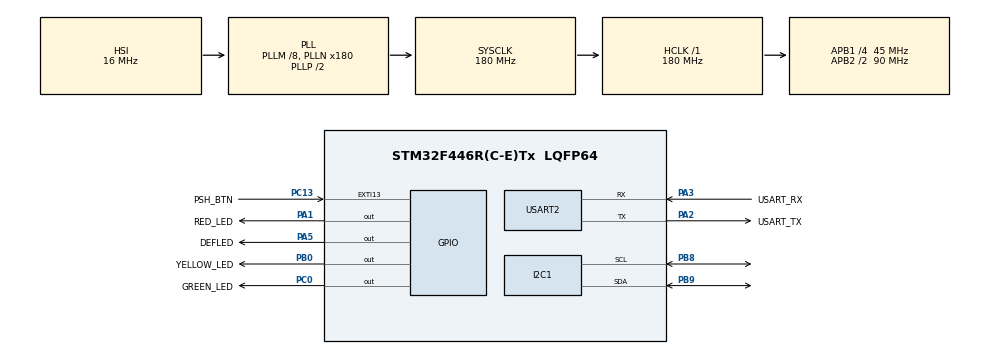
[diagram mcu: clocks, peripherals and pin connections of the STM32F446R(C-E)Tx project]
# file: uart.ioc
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FREERTOS.Queues01=myQueue,1,uint8_t,0,Dynamic,NULL,NULL
FREERTOS.Tasks01=UARTTask,24,128,StartUARTtask,Default,NULL,Dynamic,NULL,NULL;RedLEDTask,24,128,StartRedLEDTask,Default,NULL,Dynamic,NULL,NULL;YellowLEDTask,24,128,StartYellowLEDTask,Default,NULL,Dynamic,NULL,NULL;GreenLEDTask,24,128,StartGreenLEDTask,Default,NULL,Dynamic,NULL,NULL;BlinkRedLEDTask,24,128,StartBlinkRedLEDTask,Default,NULL,Dynamic,NULL,NULL;LCDNotification,24,128,StartLCDNotificationTask,Default,NULL,Dynamic,NULL,NULL
FREERTOS.configUSE_NEWLIB_REENTRANT=1
Mcu.Family=STM32F4
Mcu.Name=STM32F446R(C-E)Tx
Mcu.Package=LQFP64
NVIC.PriorityGroup=NVIC_PRIORITYGROUP_4
NVIC.TIM6_DAC_IRQn=true\:15\:0\:false\:false\:true\:false\:false\:true\:true
NVIC.TimeBase=TIM6_DAC_IRQn
NVIC.TimeBaseIP=TIM6
PA1.GPIO_Label=RED_LED
PA1.Signal=GPIO_Output
PA13.GPIO_Label=TMS
PA13.Mode=Serial_Wire
PA13.Signal=SYS_JTMS-SWDIO
PA14.GPIO_Label=TCK
PA14.Mode=Serial_Wire
PA14.Signal=SYS_JTCK-SWCLK
PA2.GPIO_Label=USART_TX
PA2.Mode=Asynchronous
PA2.Signal=USART2_TX
PA3.GPIO_Label=USART_RX
PA3.Mode=Asynchronous
PA3.Signal=USART2_RX
PA5.GPIO_Label=DEFLED
PA5.Signal=GPIO_Output
PB0.GPIO_Label=YELLOW_LED
PB0.Signal=GPIO_Output
PB3.GPIO_Label=SWO
PB3.Signal=SYS_JTDO-SWO
PB8.Mode=I2C
PB8.Signal=I2C1_SCL
PB9.Mode=I2C
PB9.Signal=I2C1_SDA
PC0.GPIO_Label=GREEN_LED
PC0.Signal=GPIO_Output
PC13.GPIO_Label=PSH_BTN
PC13.GPIO_ModeDefaultEXTI=GPIO_MODE_IT_FALLING
PC13.Signal=GPXTI13
PC14-OSC32_IN.Mode=LSE-External-Oscillator
PC14-OSC32_IN.Signal=RCC_OSC32_IN
PC15-OSC32_OUT.Mode=LSE-External-Oscillator
PC15-OSC32_OUT.Signal=RCC_OSC32_OUT
PH0-OSC_IN.Mode=HSE-External-Oscillator
PH0-OSC_IN.Signal=RCC_OSC_IN
PH1-OSC_OUT.Mode=HSE-External-Oscillator
PH1-OSC_OUT.Signal=RCC_OSC_OUT
ProjectManager.HeapSize=0x200
ProjectManager.StackSize=0x400
ProjectManager.TargetToolchain=STM32CubeIDE
RCC.48MHZClocksFreq_Value=84000000
RCC.AHBFreq_Value=180000000
RCC.APB1CLKDivider=RCC_HCLK_DIV4
RCC.APB1Freq_Value=45000000
RCC.APB1TimFreq_Value=90000000
RCC.APB2CLKDivider=RCC_HCLK_DIV2
RCC.APB2Freq_Value=90000000
RCC.APB2TimFreq_Value=180000000
RCC.CortexFreq_Value=180000000
RCC.FLatency-AdvancedSettings=FLASH_LATENCY_5
RCC.HCLKFreq_Value=180000000
RCC.HSE_VALUE=8000000
RCC.HSI_VALUE=16000000
RCC.PLLM=8
RCC.PLLN=180
RCC.SYSCLKFreq_VALUE=180000000
RCC.SYSCLKSource=RCC_SYSCLKSOURCE_PLLCLK
RCC.USBFreq_Value=180000000
RCC.VCOOutputFreq_Value=360000000
USART2.VirtualMode=VM_ASYNC
VP_FREERTOS_VS_CMSIS_V2.Mode=CMSIS_V2
VP_SYS_VS_tim6.Mode=TIM6
board=NUCLEO-F446RE

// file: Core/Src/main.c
/* USER CODE BEGIN Header */
/**
  ******************************************************************************
  * @file           : main.c
  * @brief          : Main program body
  ******************************************************************************
  * @attention
  *
  * Copyright (c) 2025 STMicroelectronics.
  * All rights reserved.
  *
  * This software is licensed under terms that can be found in the LICENSE file
  * in the root directory of this software component.
  * If no LICENSE file comes with this software, it is provided AS-IS.
  *
  ******************************************************************************
  */
/* USER CODE END Header */
#include "main.h"
#include "cmsis_os.h"
#include <stdint.h>
/* USER CODE BEGIN Includes */
#include "stm32f4xx_hal.h"
/* USER CODE END Includes */

I2C_HandleTypeDef hi2c1;

UART_HandleTypeDef huart2;

/* Definitions for UARTTask */
osThreadId_t UARTTaskHandle;
const osThreadAttr_t UARTTask_attributes = {
  .name = "UARTTask",
  .stack_size = 128 * 4,
  .priority = (osPriority_t) osPriorityNormal,
};
/* Definitions for RedLEDTask */
osThreadId_t RedLEDTaskHandle;
const osThreadAttr_t RedLEDTask_attributes = {
  .name = "RedLEDTask",
  .stack_size = 128 * 4,
  .priority = (osPriority_t) osPriorityNormal,
};
/* Definitions for YellowLEDTask */
osThreadId_t YellowLEDTaskHandle;
const osThreadAttr_t YellowLEDTask_attributes = {
  .name = "YellowLEDTask",
  .stack_size = 128 * 4,
  .priority = (osPriority_t) osPriorityNormal,
};
/* Definitions for GreenLEDTask */
osThreadId_t GreenLEDTaskHandle;
const osThreadAttr_t GreenLEDTask_attributes = {
  .name = "GreenLEDTask",
  .stack_size = 128 * 4,
  .priority = (osPriority_t) osPriorityNormal,
};
/* Definitions for BlinkRedLEDTask */
osThreadId_t BlinkRedLEDTaskHandle;
const osThreadAttr_t BlinkRedLEDTask_attributes = {
  .name = "BlinkRedLEDTask",
  .stack_size = 128 * 4,
  .priority = (osPriority_t) osPriorityNormal,
};
/* Definitions for LCDNotification */
osThreadId_t LCDNotificationHandle;
const osThreadAttr_t LCDNotification_attributes = {
  .name = "LCDNotification",
  .stack_size = 128 * 4,
  .priority = (osPriority_t) osPriorityNormal,
};
/* Definitions for myQueue */
osMessageQueueId_t myQueueHandle;
const osMessageQueueAttr_t myQueue_attributes = {
  .name = "myQueue"
};
/* USER CODE BEGIN PV */
uint8_t tx_data[]="Hello, are you ready to start the capture? (y/n) \r\n";
uint8_t rx_data[1];
/* USER CODE END PV */

void SystemClock_Config(void);
static void MX_GPIO_Init(void);
static void MX_USART2_UART_Init(void);
static void MX_I2C1_Init(void);
void StartUARTtask(void *argument);
void StartRedLEDTask(void *argument);
void StartYellowLEDTask(void *argument);
void StartGreenLEDTask(void *argument);
void StartBlinkRedLEDTask(void *argument);
void StartLCDNotificationTask(void *argument);

/* USER CODE BEGIN 0 */

typedef struct{
	uint8_t id;
}QUEUE_t;

typedef enum{
	RED_ON,
	RED_BLINK_ON,
	YELLOW_ON,
	GREEN_ON
}led_state;
/* USER CODE END 0 */

int main(void)
{

  /* MCU Configuration--------------------------------------------------------*/

  /* Reset of all peripherals, Initializes the Flash interface and the Systick. */
  HAL_Init();

  /* Configure the system clock */
  SystemClock_Config();

  /* Initialize all configured peripherals */
  MX_GPIO_Init();
  MX_USART2_UART_Init();
  MX_I2C1_Init();

  /* Init scheduler */
  osKernelInitialize();

  /* Create the queue(s) */
  /* creation of myQueue */
  myQueueHandle = osMessageQueueNew (1, sizeof(uint8_t), &myQueue_attributes);

  /* Create the thread(s) */
  /* creation of UARTTask */
  UARTTaskHandle = osThreadNew(StartUARTtask, NULL, &UARTTask_attributes);

  /* creation of RedLEDTask */
  RedLEDTaskHandle = osThreadNew(StartRedLEDTask, NULL, &RedLEDTask_attributes);

  /* creation of YellowLEDTask */
  YellowLEDTaskHandle = osThreadNew(StartYellowLEDTask, NULL, &YellowLEDTask_attributes);

  /* creation of GreenLEDTask */
  GreenLEDTaskHandle = osThreadNew(StartGreenLEDTask, NULL, &GreenLEDTask_attributes);

  /* creation of BlinkRedLEDTask */
  BlinkRedLEDTaskHandle = osThreadNew(StartBlinkRedLEDTask, NULL, &BlinkRedLEDTask_attributes);

  /* creation of LCDNotification */
  LCDNotificationHandle = osThreadNew(StartLCDNotificationTask, NULL, &LCDNotification_attributes);

  /* Start scheduler */
  osKernelStart();

  /* We should never get here as control is now taken by the scheduler */

  /* Infinite loop */
  while (1)
  {

    /* USER CODE BEGIN 3 */

//	  HAL_Delay(400);
  }
  /* USER CODE END 3 */
}

void SystemClock_Config(void)
{
  RCC_OscInitTypeDef RCC_OscInitStruct = {0};
  RCC_ClkInitTypeDef RCC_ClkInitStruct = {0};

  /** Configure the main internal regulator output voltage
  */
  __HAL_RCC_PWR_CLK_ENABLE();
  __HAL_PWR_VOLTAGESCALING_CONFIG(PWR_REGULATOR_VOLTAGE_SCALE1);

  /** Initializes the RCC Oscillators according to the specified parameters
  * in the RCC_OscInitTypeDef structure.
  */
  RCC_OscInitStruct.OscillatorType = RCC_OSCILLATORTYPE_HSI;
  RCC_OscInitStruct.HSIState = RCC_HSI_ON;
  RCC_OscInitStruct.HSICalibrationValue = RCC_HSICALIBRATION_DEFAULT;
  RCC_OscInitStruct.PLL.PLLState = RCC_PLL_ON;
  RCC_OscInitStruct.PLL.PLLSource = RCC_PLLSOURCE_HSI;
  RCC_OscInitStruct.PLL.PLLM = 8;
  RCC_OscInitStruct.PLL.PLLN = 180;
  RCC_OscInitStruct.PLL.PLLP = RCC_PLLP_DIV2;
  RCC_OscInitStruct.PLL.PLLQ = 2;
  RCC_OscInitStruct.PLL.PLLR = 2;
  if (HAL_RCC_OscConfig(&RCC_OscInitStruct) != HAL_OK)
  {
    Error_Handler();
  }

  /** Activate the Over-Drive mode
  */
  if (HAL_PWREx_EnableOverDrive() != HAL_OK)
  {
    Error_Handler();
  }

  /** Initializes the CPU, AHB and APB buses clocks
  */
  RCC_ClkInitStruct.ClockType = RCC_CLOCKTYPE_HCLK|RCC_CLOCKTYPE_SYSCLK
                              |RCC_CLOCKTYPE_PCLK1|RCC_CLOCKTYPE_PCLK2;
  RCC_ClkInitStruct.SYSCLKSource = RCC_SYSCLKSOURCE_PLLCLK;
  RCC_ClkInitStruct.AHBCLKDivider = RCC_SYSCLK_DIV1;
  RCC_ClkInitStruct.APB1CLKDivider = RCC_HCLK_DIV4;
  RCC_ClkInitStruct.APB2CLKDivider = RCC_HCLK_DIV2;

  if (HAL_RCC_ClockConfig(&RCC_ClkInitStruct, FLASH_LATENCY_5) != HAL_OK)
  {
    Error_Handler();
  }
}

static void MX_I2C1_Init(void)
{

  hi2c1.Instance = I2C1;
  hi2c1.Init.ClockSpeed = 100000;
  hi2c1.Init.DutyCycle = I2C_DUTYCYCLE_2;
  hi2c1.Init.OwnAddress1 = 0;
  hi2c1.Init.AddressingMode = I2C_ADDRESSINGMODE_7BIT;
  hi2c1.Init.DualAddressMode = I2C_DUALADDRESS_DISABLE;
  hi2c1.Init.OwnAddress2 = 0;
  hi2c1.Init.GeneralCallMode = I2C_GENERALCALL_DISABLE;
  hi2c1.Init.NoStretchMode = I2C_NOSTRETCH_DISABLE;
  if (HAL_I2C_Init(&hi2c1) != HAL_OK)
  {
    Error_Handler();
  }

}

static void MX_USART2_UART_Init(void)
{

  huart2.Instance = USART2;
  huart2.Init.BaudRate = 115200;
  huart2.Init.WordLength = UART_WORDLENGTH_8B;
  huart2.Init.StopBits = UART_STOPBITS_1;
  huart2.Init.Parity = UART_PARITY_NONE;
  huart2.Init.Mode = UART_MODE_TX_RX;
  huart2.Init.HwFlowCtl = UART_HWCONTROL_NONE;
  huart2.Init.OverSampling = UART_OVERSAMPLING_16;
  if (HAL_UART_Init(&huart2) != HAL_OK)
  {
    Error_Handler();
  }

}

static void MX_GPIO_Init(void)
{
  GPIO_InitTypeDef GPIO_InitStruct = {0};

  /* GPIO Ports Clock Enable */
  __HAL_RCC_GPIOC_CLK_ENABLE();
  __HAL_RCC_GPIOH_CLK_ENABLE();
  __HAL_RCC_GPIOA_CLK_ENABLE();
  __HAL_RCC_GPIOB_CLK_ENABLE();

  /*Configure GPIO pin Output Level */
  HAL_GPIO_WritePin(GREEN_LED_GPIO_Port, GREEN_LED_Pin, GPIO_PIN_RESET);

  /*Configure GPIO pin Output Level */
  HAL_GPIO_WritePin(GPIOA, RED_LED_Pin|DEFLED_Pin, GPIO_PIN_RESET);

  /*Configure GPIO pin Output Level */
  HAL_GPIO_WritePin(YELLOW_LED_GPIO_Port, YELLOW_LED_Pin, GPIO_PIN_RESET);

  /*Configure GPIO pin : PSH_BTN_Pin */
  GPIO_InitStruct.Pin = PSH_BTN_Pin;
  GPIO_InitStruct.Mode = GPIO_MODE_IT_FALLING;
  GPIO_InitStruct.Pull = GPIO_NOPULL;
  HAL_GPIO_Init(PSH_BTN_GPIO_Port, &GPIO_InitStruct);

  /*Configure GPIO pin : GREEN_LED_Pin */
  GPIO_InitStruct.Pin = GREEN_LED_Pin;
  GPIO_InitStruct.Mode = GPIO_MODE_OUTPUT_PP;
  GPIO_InitStruct.Pull = GPIO_NOPULL;
  GPIO_InitStruct.Speed = GPIO_SPEED_FREQ_LOW;
  HAL_GPIO_Init(GREEN_LED_GPIO_Port, &GPIO_InitStruct);

  /*Configure GPIO pins : RED_LED_Pin DEFLED_Pin */
  GPIO_InitStruct.Pin = RED_LED_Pin|DEFLED_Pin;
  GPIO_InitStruct.Mode = GPIO_MODE_OUTPUT_PP;
  GPIO_InitStruct.Pull = GPIO_NOPULL;
  GPIO_InitStruct.Speed = GPIO_SPEED_FREQ_LOW;
  HAL_GPIO_Init(GPIOA, &GPIO_InitStruct);

  /*Configure GPIO pin : YELLOW_LED_Pin */
  GPIO_InitStruct.Pin = YELLOW_LED_Pin;
  GPIO_InitStruct.Mode = GPIO_MODE_OUTPUT_PP;
  GPIO_InitStruct.Pull = GPIO_NOPULL;
  GPIO_InitStruct.Speed = GPIO_SPEED_FREQ_LOW;
  HAL_GPIO_Init(YELLOW_LED_GPIO_Port, &GPIO_InitStruct);

}

void StartUARTtask(void *argument)
{
  /* USER CODE BEGIN 5 */

	uint32_t ulNotifiedValue;

  /* Infinite loop */
  for(;;)
  {

	  xTaskNotify(RedLEDTaskHandle,0,eNoAction);
	  HAL_UART_Receive(&huart2, rx_data, sizeof(rx_data), HAL_MAX_DELAY);
	  HAL_UART_Transmit(&huart2, rx_data, 1, HAL_MAX_DELAY);
	  HAL_UART_Transmit(&huart2, (uint8_t*)"\r\n", 2, HAL_MAX_DELAY);

	  if(rx_data[0]=='y'){

//		  HAL_UART_Transmit(&huart2, (uint8_t*)"SendingBlinkRedLEDTask\r\n", sizeof("SendingBlinkRedLEDTask\r\n"), HAL_MAX_DELAY);
		  xTaskNotify(BlinkRedLEDTaskHandle,0,eNoAction);
		  if(xTaskNotifyWait(0, 0, &ulNotifiedValue , portMAX_DELAY)==pdTRUE){
			  HAL_UART_Transmit(&huart2, (uint8_t*)"it was a success!!!\r\n", sizeof("it was a success!!!\r\n"), HAL_MAX_DELAY);
			  //clear receive buffer

			  HAL_UART_Receive(&huart2, rx_data, sizeof(rx_data), 200);
		  }

	  }
  }
  /* USER CODE END 5 */
}

void StartRedLEDTask(void *argument)
{
  /* USER CODE BEGIN StartRedLEDTask */
	uint32_t ulNotifiedValue;
	uint8_t msgToSend=0;
  /* Infinite loop */
  for(;;)
  {
	  if(xTaskNotifyWait(0, 0, &ulNotifiedValue, portMAX_DELAY)){
		  osMessageQueuePut(myQueueHandle, &msgToSend, 0U, 0U);
		  HAL_GPIO_WritePin(RED_LED_GPIO_Port, RED_LED_Pin, 1);
		  HAL_GPIO_WritePin(YELLOW_LED_GPIO_Port, YELLOW_LED_Pin, 0);
		  HAL_GPIO_WritePin(GREEN_LED_GPIO_Port, GREEN_LED_Pin, 0);
	  }
  }
  /* USER CODE END StartRedLEDTask */
}

void StartYellowLEDTask(void *argument)
{
  /* USER CODE BEGIN StartYellowLEDTask */
	uint32_t ulNotifiedValue;
	uint8_t msgToSend=2;
  /* Infinite loop */
  for(;;)
  {
	  if(xTaskNotifyWait(0, 0, &ulNotifiedValue, portMAX_DELAY)){
		  osMessageQueuePut(myQueueHandle, &msgToSend, 0U, 0U);
//		  osMessagePut(myQueueHandle, (uint32_t)"WE ARE IN YELLOW TASK!", HAL_MAX_DELAY);
		  HAL_GPIO_WritePin(RED_LED_GPIO_Port, RED_LED_Pin, 0);
		  HAL_GPIO_WritePin(YELLOW_LED_GPIO_Port, YELLOW_LED_Pin, 1);
		  HAL_GPIO_WritePin(GREEN_LED_GPIO_Port, GREEN_LED_Pin, 0);
		  osDelay(5000);
		  xTaskNotify(GreenLEDTaskHandle,0,eNoAction);
	  }
    osDelay(1);
  }
  /* USER CODE END StartYellowLEDTask */
}

void StartGreenLEDTask(void *argument)
{
  /* USER CODE BEGIN StartGreenLEDTask */
	uint32_t ulNotifiedValue;
	uint8_t msgToSend=3;
  /* Infinite loop */
  for(;;)
  {
	  if(xTaskNotifyWait(0, 0, &ulNotifiedValue, portMAX_DELAY)){
		  osMessageQueuePut(myQueueHandle, &msgToSend, 0U, 0U);
		  HAL_GPIO_WritePin(RED_LED_GPIO_Port, RED_LED_Pin, 0);
		  HAL_GPIO_WritePin(YELLOW_LED_GPIO_Port, YELLOW_LED_Pin, 0);
		  HAL_GPIO_WritePin(GREEN_LED_GPIO_Port, GREEN_LED_Pin, 1);
		  osDelay(3000);
		  HAL_GPIO_TogglePin(GREEN_LED_GPIO_Port, GREEN_LED_Pin);
		  xTaskNotify(UARTTaskHandle,0,eNoAction);
	  }
  }
  /* USER CODE END StartGreenLEDTask */
}

void StartBlinkRedLEDTask(void *argument)
{
  /* USER CODE BEGIN StartBlinkRedLEDTask */
	uint32_t ulNotifiedValue;
	uint8_t msgToSend=1;

  /* Infinite loop */
  for(;;)
  {
	  if(xTaskNotifyWait(0, 0, &ulNotifiedValue, portMAX_DELAY)){
//	  if(ulTaskNotifyTake(pdFALSE, portMAX_DELAY)){
		  HAL_UART_Transmit(&huart2, (uint8_t*)"INBLINKLEDDDDD\r\n", sizeof("INBLINKLEDDDDD\r\n"), HAL_MAX_DELAY);
		  osMessageQueuePut(myQueueHandle, &msgToSend, 0U, 0U);
//		  osMessagePut(myQueueHandle,(uint32_t)"WE ARE IN rEDBLINKINGGGGG TASK!", HAL_MAX_DELAY);
		  int cnt=0;
		  while(cnt<6){
			  HAL_GPIO_TogglePin(RED_LED_GPIO_Port, RED_LED_Pin);
			  osDelay(500);
			  cnt++;
		  }
		  osDelay(1000);

		  xTaskNotify(YellowLEDTaskHandle,0,eNoAction);
	  }
    osDelay(1);
  }
  /* USER CODE END StartBlinkRedLEDTask */
}

void StartLCDNotificationTask(void *argument)
{
  /* USER CODE BEGIN StartLCDNotificationTask */
//	osEvent taskMsg;
	QUEUE_t msg;

  HD44780_Init(2);
  HD44780_Clear();
  HD44780_Backlight();

  /* Infinite loop */
  for(;;)
  {

//	  HAL_UART_Transmit(&huart2, (uint8_t*)"INLCDTAKS\r\n", sizeof("INLCDTAKS\r\n"), osWaitForever);
	  if(osMessageQueueGet(myQueueHandle, &msg, NULL, HAL_MAX_DELAY) == osOK){

		  if(msg.id==RED_ON){
//			  HD44780_Init(2);
//			  HD44780_Clear();
//			  HD44780_Backlight();
			  HD44780_SetCursor(0,0);
			  HD44780_PrintStr("Still waiting...");
			  HD44780_SetCursor(0,1);
			  HD44780_PrintStr(" :(             ");

		  }
		  else if(msg.id==RED_BLINK_ON){
//			  HD44780_Init(2);
			  HD44780_Clear();
//			  HD44780_Backlight();
			  HD44780_SetCursor(0,0);
			  HD44780_PrintStr("Ok, we will");
			  HD44780_SetCursor(0,1);
			  HD44780_PrintStr("start soon :)");

		  }
		  else if(msg.id==YELLOW_ON){
//			  HD44780_Init(2);
			  HD44780_Clear();
//			  HD44780_Backlight();
			  HD44780_SetCursor(0,0);
			  HD44780_PrintStr("Working on it!");
			  HD44780_SetCursor(0,1);
			  HD44780_PrintStr(" :D            ");

		  }
		  else if(msg.id==GREEN_ON){
//			  HD44780_Init(2);
			  HD44780_Clear();
//			  HD44780_Backlight();
			  HD44780_SetCursor(0,0);
			  HD44780_PrintStr("All done,     ");
			  HD44780_SetCursor(0,1);
			  HD44780_PrintStr("have a good day!");
		  }
		  //envoie un uart apres le if du msg.id pour verifier!!!!

	  }
//	  taskMsg=osMessageGet(myQueueHandle, HAL_MAX_DELAY);
  }
  /* USER CODE END StartLCDNotificationTask */
}

void HAL_TIM_PeriodElapsedCallback(TIM_HandleTypeDef *htim)
{
  if (htim->Instance == TIM6)
  {
    HAL_IncTick();
  }
}

void Error_Handler(void)
{
  __disable_irq();
  while (1)
  {
  }
}
